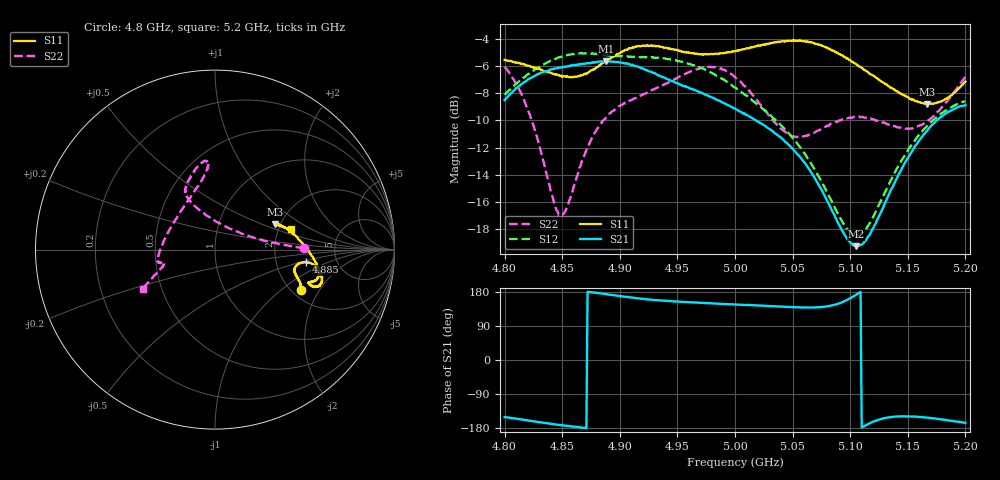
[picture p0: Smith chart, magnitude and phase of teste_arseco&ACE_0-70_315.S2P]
! Network Analyzer HP8722D
! Hewlett-Packard
! Data name: Linha & Wilkinson
! Saver's name: Rodrigo Anjos
! Comments: Teste da utilização de aquisição
! continua pelo VNA HP8722D
! Time and date: 8/5/2025 15:23
!  Frequency  S11  S21  S12  S22
# HZ  S  MA R 50
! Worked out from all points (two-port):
!   401 points, 4.8 GHz to 5.2 GHz, reference 50 ohm
!   highest |S21| = -5.65 dB at 4.888 GHz (marker M1); lowest = -19.3 dB at 5.105 GHz (marker M2)
!   |S21| within 3 dB of the highest: start of sweep to 4.988 GHz
!   lowest |S11| = -8.8 dB at 5.167 GHz (marker M3), VSWR 2.14, Z = 93.5 + j30.8 ohm
!   |S11| at or under -10 dB: nowhere
!   |S22| runs from -17.0 to -6.1 dB; largest |S21 - S12| = 1.1
!   S11 on the Smith chart (normalised r, x): 4.8 GHz: 2.24, -1.38; 4.885 GHz: 2.98, -0.56; 5.2 GHz: 2.35, +0.66
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4.8e9  0.5277 -25.0  0.3753 -150.8  0.3925 8.5  0.497 1.0
4.811e9  0.5144 -22.2  0.4172 -155.1  0.4355 7.1  0.4232 2.8
4.821e9  0.5021 -20.3  0.4498 -159.9  0.4685 5.4  0.3384 6.3
4.847e9  0.463 -16.0  0.494 -171.2  0.5394 1.4  0.1419 55.3
4.854e9  0.4594 -14.3  0.499 -173.8  0.549 0.1  0.1509 82.6
4.867e9  0.4633 -10.6  0.5095 -178.3  0.5577 -1.9  0.2237 109.3
4.885e9  0.5126 -7.8  0.5205 175.1  0.5506 -2.9  0.3145 117.3
4.888e9  0.5223 -7.9  0.5218 173.9  0.5501 -2.9  0.3234 117.7
4.91e9  0.5829 -11.0  0.505 165.1  0.5415 -2.4  0.3754 116.3
4.934e9  0.5921 -16.3  0.463 157.3  0.5366 -3.1  0.4184 109.7
4.974e9  0.5547 -19.4  0.3934 150.2  0.4856 -6.7  0.4954 97.3
5e9  0.5675 -20.4  0.349 146.5  0.4171 -6.5  0.4562 95.5
5.042e9  0.6178 -18.7  0.2681 140.7  0.2973 1.2  0.2896 129.1
5.067e9  0.6112 -13.8  0.2009 138.5  0.2164 8.8  0.2834 165.0
5.094e9  0.5454 -4.3  0.1223 153.8  0.1319 33.4  0.3192 -172.6
5.105e9  0.5101 0.9  0.1089 172.0  0.1191 54.2  0.3253 -169.0
5.116e9  0.4724 6.4  0.1187 -168.4  0.1305 75.4  0.3236 -166.9
5.134e9  0.4205 15.5  0.1702 -151.1  0.1856 94.5  0.3044 -166.0
5.152e9  0.3794 21.7  0.237 -148.9  0.2524 99.8  0.2948 -164.3
5.167e9  0.3632 23.2  0.2902 -152.2  0.3029 100.6  0.3147 -161.4
5.182e9  0.3775 21.0  0.3333 -157.8  0.3417 100.6  0.3624 -157.3
5.2e9  0.4392 14.9  0.3596 -165.7  0.3724 101.0  0.4569 -151.3
